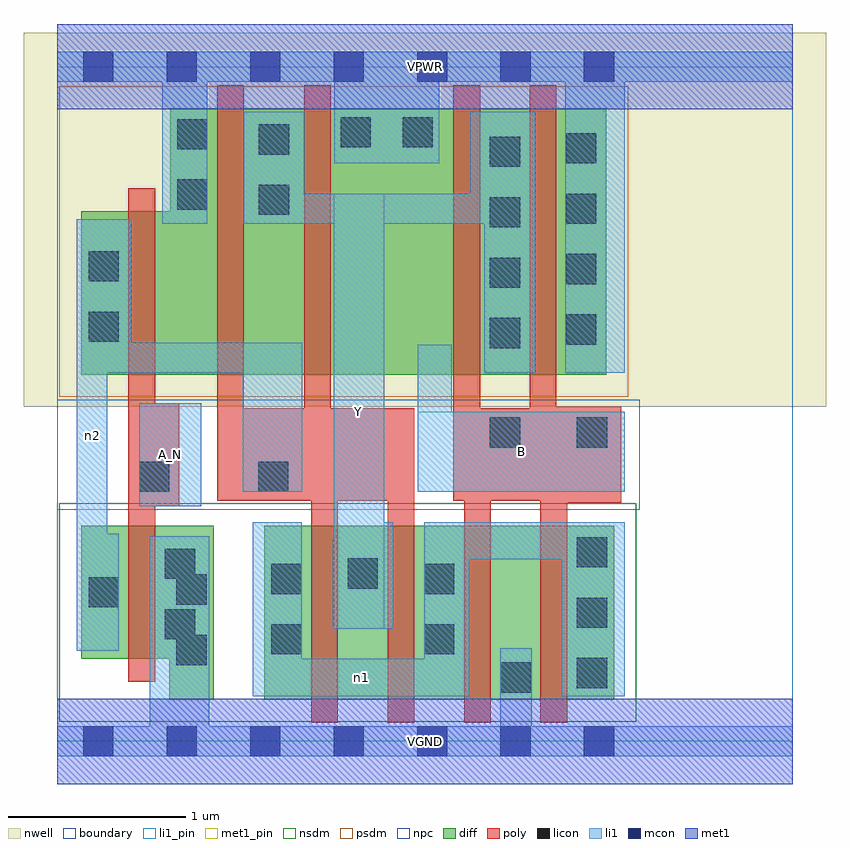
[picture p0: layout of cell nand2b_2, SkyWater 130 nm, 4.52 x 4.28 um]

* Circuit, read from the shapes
.subckt nand2b_2 A_N B VGND VPWR Y n1 n2
XM1 VGND A_N n2 VSUBS sky130_fd_pr__nfet_01v8 w=0.75 l=0.15
XM2 Y n2 n1 VSUBS sky130_fd_pr__nfet_01v8 w=0.98 l=0.15 m=2
XM3 VGND B n1 VSUBS sky130_fd_pr__nfet_01v8 w=0.98 l=0.15 m=2
XM4 VPWR A_N n2 n3 sky130_fd_pr__pfet_01v8 w=0.92 l=0.15
XM5 Y n2 VPWR n3 sky130_fd_pr__pfet_01v8 w=1.5 l=0.15 m=2
XM6 Y B VPWR n3 sky130_fd_pr__pfet_01v8 w=1.5 l=0.15 m=2
.ends

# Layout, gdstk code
import gdstk
lib = gdstk.Library(unit=1e-6, precision=1e-09)
def R(c, l, rs):  # rectangles x0, y0, x1, y1
    for r in rs: c.add(gdstk.rectangle(r[:2], r[2:], *l))
def A(c, l, x, y, w, h, nx, ny, dx, dy):  # array of equal rectangles
    R(c, l, [(x+i*dx, y+j*dy, x+i*dx+w, y+j*dy+h) for i in range(nx) for j in range(ny)])
nwell = (64, 20)
diff = (65, 20)
poly = (66, 20)
licon = (66, 44)
li1_pin = (67, 16)
li1 = (67, 20)
mcon = (67, 44)
met1_pin = (68, 16)
met1 = (68, 20)
nsdm = (93, 44)
psdm = (94, 20)
npc = (95, 20)
boundary = (235, 4)

nand2b_2 = lib.new_cell('nand2b_2')
R(nand2b_2, nwell, [(-0.19,1.885,4.33,3.99), (0,1.885,4.14,3.99)])
R(nand2b_2, diff, [(0.63,0.235,0.88,1.215), (1.165,0.235,3.135,1.215), (0.135,0.465,0.88,1.215), (0.135,2.065,3.09,2.985), (0.635,2.065,3.09,3.565)])
A(nand2b_2, poly, 1.43, 0.105, 0.15, 1.77, 3, 1, 0.43, 0)
R(nand2b_2, poly, [(2.72,0.105,2.81,3.695), (2.72,0.105,2.87,1.885), (0.4,0.335,0.55,3.115), (0.4,1.325,0.685,1.905), (2.72,1.345,3.175,1.885), (0.9,1.355,2.01,1.875), (0.9,1.355,1.05,3.695), (1.39,1.355,1.54,3.695), (2.23,1.355,2.38,3.695), (2.23,1.355,3.175,1.875), (2.66,1.355,2.81,3.695)])
A(nand2b_2, licon, 2.925, 0.3, 0.17, 0.17, 1, 3, 0, 0.34)
A(nand2b_2, licon, 2.435, 2.215, 0.17, 0.17, 1, 4, 0, 0.34)
A(nand2b_2, licon, 2.865, 2.235, 0.17, 0.17, 1, 4, 0, 0.34)
R(nand2b_2, licon, [(2.495,0.275,2.665,0.445), (0.67,0.43,0.84,0.6), (1.205,0.49,1.375,0.66), (2.065,0.49,2.235,0.66), (0.605,0.575,0.775,0.745), (0.175,0.755,0.345,0.925), (0.67,0.77,0.84,0.94), (1.205,0.83,1.375,1), (2.065,0.83,2.235,1), (1.635,0.86,1.805,1.03), (0.605,0.915,0.775,1.085), (0.46,1.405,0.63,1.575), (1.13,1.405,1.3,1.575), (2.435,1.655,2.605,1.825), (2.925,1.655,3.095,1.825), (0.175,2.25,0.345,2.42), (0.175,2.59,0.345,2.76), (1.135,2.965,1.305,3.135), (0.675,2.995,0.845,3.165), (1.135,3.305,1.305,3.475), (0.675,3.335,0.845,3.505), (1.595,3.345,1.765,3.515), (1.945,3.345,2.115,3.515)])
R(nand2b_2, li1_pin, [(1.555,0.635,1.84,3.085), (0.46,1.325,0.81,1.905), (2.03,1.405,3.195,1.855)])
R(nand2b_2, li1, [(0,-0.085,4.14,0.085), (0.52,-0.085,0.855,1.155), (2.495,-0.085,2.67,0.525), (1.1,0.255,2.32,0.465), (1.1,0.255,1.375,1.235), (2.065,0.255,2.32,1.235), (2.84,0.255,3.195,1.235), (0.11,0.51,0.28,2.94), (0.11,0.51,0.345,1.17), (1.55,0.635,1.89,1.135), (1.555,0.635,1.84,3.085), (1.555,0.635,1.89,1.235), (2.065,1.025,3.195,1.235), (0.46,1.325,0.81,1.905), (1.045,1.405,1.38,2.245), (2.03,1.405,3.195,1.855), (2.03,1.405,2.22,2.235), (0.11,2.075,1.38,2.245), (0.11,2.075,0.415,2.94), (2.405,2.075,2.69,3.545), (2.86,2.075,3.195,3.885), (0.59,2.915,0.845,3.885), (1.05,2.915,1.39,3.545), (1.05,2.915,2.69,3.085), (2.325,2.915,2.69,3.545), (1.56,3.255,2.15,3.885), (0,3.715,4.14,3.885)])
A(nand2b_2, mcon, 0.145, -0.085, 0.17, 0.17, 7, 2, 0.47, 3.8)
R(nand2b_2, met1_pin, [(0,-0.24,4.14,0.24), (0,3.56,4.14,4.04)])
R(nand2b_2, met1, [(0,-0.24,4.14,0.24), (0,3.56,4.14,4.04)])
R(nand2b_2, nsdm, [(0.01,0.11,3.26,1.34)])
R(nand2b_2, psdm, [(0.01,1.94,3.215,3.69)])
R(nand2b_2, npc, [(0,1.305,3.28,1.925)])
R(nand2b_2, boundary, [(0,0,4.14,3.8)])
nand2b_2.add(gdstk.Label('A_N', (0.635,1.615), layer=67, texttype=5))
nand2b_2.add(gdstk.Label('B', (2.612,1.63), layer=67, texttype=5))
nand2b_2.add(gdstk.Label('Y', (1.697,1.86), layer=67, texttype=5))
nand2b_2.add(gdstk.Label('n1', (1.71,0.36), layer=67, texttype=5))
nand2b_2.add(gdstk.Label('n2', (0.195,1.725), layer=67, texttype=5))
nand2b_2.add(gdstk.Label('VPWR', (2.07,3.8), layer=68, texttype=5))
nand2b_2.add(gdstk.Label('VGND', (2.07,0), layer=68, texttype=5))
nand2b_2.add(gdstk.Label('A_N', (0.635,1.615), layer=67, texttype=16))
nand2b_2.add(gdstk.Label('B', (2.612,1.63), layer=67, texttype=16))
nand2b_2.add(gdstk.Label('Y', (1.697,1.86), layer=67, texttype=16))
nand2b_2.add(gdstk.Label('VPWR', (2.07,3.8), layer=68, texttype=16))
nand2b_2.add(gdstk.Label('VGND', (2.07,0), layer=68, texttype=16))

lib.write_gds('nand2b_2.gds')
